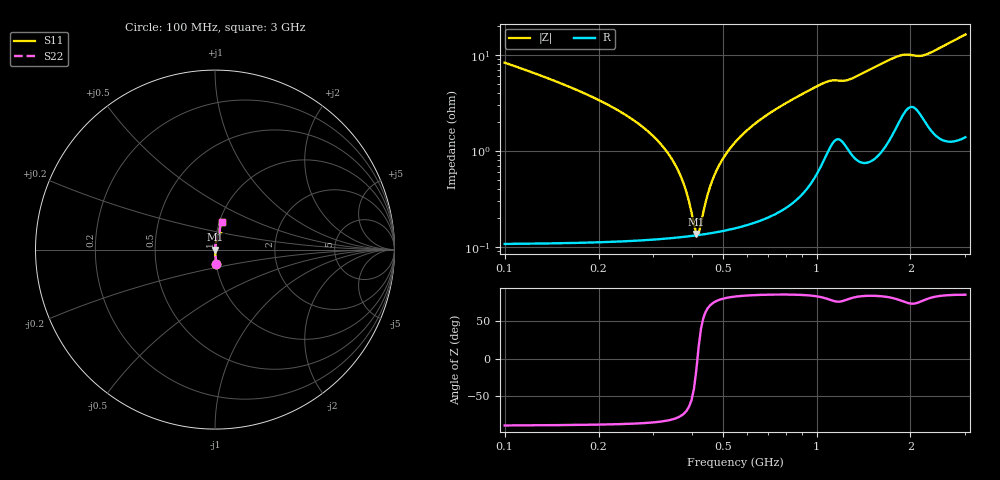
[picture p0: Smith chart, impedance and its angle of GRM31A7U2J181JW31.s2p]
!Murata Part Number: GRM31A7U2J181JW31
!These Parameters are Measured in Series Mode Connection
!Data Generated on Mar 30, 2021
!  o--ll--o
!Port1  Port2
!  o------o
!Operation Temp=25[degC], DC Bias Voltage=0[V]
!Freq. Start=100[MHz] Stop=3[GHz] 401[Steps]
# Hz S RI R 50
!Freq.(Hz) S11(Real) S11(Imag) S21(Real) S21(Imag) S12(Real) S12(Imag) S22(Real) S22(Imag)
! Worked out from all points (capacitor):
!   401 points, 100 MHz to 3 GHz, reference 50 ohm
!   read as one part in series: C = 180 pF near 114.5 MHz
!   lowest |Z| = 137 mohm at 411.8 MHz (marker M1)
!   series resonance near 415.2 MHz, so ESL is about 820 pH
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1e8  0.00795 -0.0826  0.992 0.0826  0.992 0.0826  0.00795 -0.0826
2.6675e8  0.00155 -0.0195  0.9985 0.0195  0.9985 0.0195  0.00155 -0.0195
3.2475e8  0.00133 -0.0106  0.9987 0.0106  0.9987 0.0106  0.00133 -0.0106
3.6825e8  0.00129 -0.00516  0.9987 0.00516  0.9987 0.00516  0.00129 -0.00516
4.045e8  0.00131 -0.00112  0.9987 0.00112  0.9987 0.00112  0.00131 -0.00112
4.1175e8  0.00132 -0.000359  0.9987 0.000359  0.9987 0.000359  0.00132 -0.000359
4.19e8  0.00133 0.000391  0.9987 -0.000391  0.9987 -0.000391  0.00133 0.000391
4.2625e8  0.00134 0.00113  0.9987 -0.00113  0.9987 -0.00113  0.00134 0.00113
4.5525e8  0.0014 0.00397  0.9986 -0.00397  0.9986 -0.00397  0.0014 0.00397
4.8425e8  0.00148 0.00667  0.9985 -0.00667  0.9985 -0.00667  0.00148 0.00667
5.2775e8  0.00163 0.0105  0.9984 -0.0105  0.9984 -0.0105  0.00163 0.0105
5.8575e8  0.00189 0.0153  0.9981 -0.0153  0.9981 -0.0153  0.00189 0.0153
6.655e8  0.00236 0.0215  0.9976 -0.0215  0.9976 -0.0215  0.00236 0.0215
7.7425e8  0.00327 0.0295  0.9967 -0.0295  0.9967 -0.0295  0.00327 0.0295
1.0715e9  0.0114 0.0505  0.9886 -0.0505  0.9886 -0.0505  0.0114 0.0505
1.26e9  0.0131 0.0527  0.9869 -0.0527  0.9869 -0.0527  0.0131 0.0527
1.55e9  0.014 0.0739  0.986 -0.0739  0.986 -0.0739  0.014 0.0739
1.83275e9  0.0278 0.0913  0.9722 -0.0913  0.9722 -0.0913  0.0278 0.0913
2.03575e9  0.0361 0.0891  0.9639 -0.0891  0.9639 -0.0891  0.0361 0.0891
2.2025e9  0.0296 0.0922  0.9704 -0.0922  0.9704 -0.0922  0.0296 0.0922
2.5215e9  0.0268 0.1162  0.9732 -0.1162  0.9732 -0.1162  0.0268 0.1162
3e9  0.0386 0.1547  0.9614 -0.1547  0.9614 -0.1547  0.0386 0.1547
